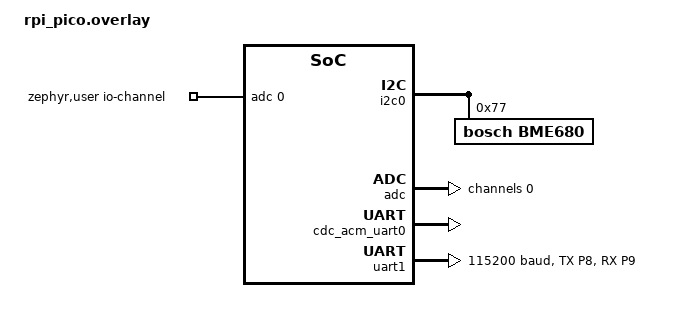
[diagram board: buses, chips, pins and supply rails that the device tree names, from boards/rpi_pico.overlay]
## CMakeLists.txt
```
cmake_minimum_required(VERSION 3.20.0)

# Select our board 
set(BOARD rpi_pico)

# Find/Select cmake package 'Zephyr' 
find_package(Zephyr)

# This is only used by IntelliSense inside VS Code 
set(CMAKE_EXPORT_COMPILE_COMMANDS ON)

# For using west flash with picoprobe
set(OPENOCD "openocd")
set(OPENOCD_DEFAULT_PATH "/usr/local/share/openocd/scripts")

# Define project name
project(lab3_part2)

# Add include directory 
target_include_directories(app PRIVATE src/inc)

# Add source files
FILE(GLOB SRC_FILES "src/*.c")
target_sources(app PRIVATE ${SRC_FILES})
```

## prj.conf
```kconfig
CONFIG_USB_DEVICE_STACK=y
CONFIG_USB_DEVICE_PRODUCT="RPi Pico USB Serial Console"
CONFIG_USB_DEVICE_VID=0001

CONFIG_SERIAL=y
CONFIG_CONSOLE=y
CONFIG_UART_CONSOLE=y
CONFIG_UART_LINE_CTRL=y
CONFIG_UART_ASYNC_API=y

CONFIG_UART_INTERRUPT_DRIVEN=y
CONFIG_UART_1_ASYNC=y
CONFIG_UART_1_INTERRUPT_DRIVEN=y

CONFIG_NEWLIB_LIBC=y
CONFIG_NEWLIB_LIBC_FLOAT_PRINTF=y




CONFIG_GPIO=y
CONFIG_ADC=y
CONFIG_I2C=y
CONFIG_STDOUT_CONSOLE=y

CONFIG_BME680=y

CONFIG_SENSOR=y

CONFIG_DEBUG=y
```

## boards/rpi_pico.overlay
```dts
&i2c0 {
	bme680@77 {
		compatible = "bosch,bme680";
		reg = <0x77>;
	};
};

/ {
    chosen {
        zephyr,console = &cdc_acm_uart0;
    };
};
/ {
	zephyr,user {
		io-channels = <&adc 0>;
	};
};

&adc {
	#address-cells = <1>;
	#size-cells = <0>;

	channel@0 {
		reg = <0>;
		zephyr,gain = "ADC_GAIN_1";
		zephyr,reference = "ADC_REF_INTERNAL";
		zephyr,acquisition-time = <ADC_ACQ_TIME_DEFAULT>;
		zephyr,resolution = <12>;
	};
};

&zephyr_udc0 {
    cdc_acm_uart0: cdc_acm_uart0 {
    	compatible = "zephyr,cdc-acm-uart";
        label = "CDC_ACM_0";
    };
};
&uart1 {
    pinctrl-0 = <&uart1_default>;
	status = "okay";
    pinctrl-names = "default";
	compatible = "raspberrypi,pico-uart";
	current-speed = <115200>;
};


&pinctrl {
	uart1_default: uart1_default {
		group1 {
			pinmux = <UART1_TX_P8>;
		};
		group2 {
			pinmux = <UART1_RX_P9>;
			input-enable;
		};
	};
};
```

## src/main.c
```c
#include <zephyr/kernel.h>
#include <zephyr/device.h>
#include <zephyr/devicetree.h>
#include <zephyr/drivers/gpio.h>
#include <zephyr/drivers/sensor.h>
#include <string.h>
#include <stdio.h>
#include <zephyr/usb/usb_device.h>
#include <zephyr/drivers/uart.h>
#include <zephyr/sys/printk.h>
#include <zephyr/sys/util.h>
#include <zephyr/drivers/i2c.h>
#include <zephyr/sys_clock.h>
#include <zephyr/drivers/adc.h>
#include <inttypes.h>
#include <stddef.h>
#include <stdint.h>

#define UART_DEV_NAME "uart1"
#define UART_BAUD_RATE 115200
#define LED0_NODE DT_ALIAS(led0)
#define SENSOR_ADDRESS 0x53
#define I2C_PORT "i2c@40044000"
uint32_t final_light;
uint32_t UV_final;
int samplerate[] = {25, 125, 500};
int adcrate;

#if !DT_NODE_EXISTS(DT_PATH(zephyr_user)) || \
    !DT_NODE_HAS_PROP(DT_PATH(zephyr_user), io_channels)
#error "No suitable devicetree overlay specified"
#endif

#define DT_SPEC_AND_COMMA(node_id, prop, idx) \
    ADC_DT_SPEC_GET_BY_IDX(node_id, idx),

int err;
uint16_t buf;

struct adc_sequence sequence = {
    .buffer = &buf,
    /* buffer size in bytes, not number of samples */
    .buffer_size = sizeof(buf),
};

/* Data of ADC io-channels specified in devicetree. */
static const struct adc_dt_spec adc_channels[] = {
    DT_FOREACH_PROP_ELEM(DT_PATH(zephyr_user), io_channels,
                         DT_SPEC_AND_COMMA)};

const struct gpio_dt_spec led0 = GPIO_DT_SPEC_GET(LED0_NODE, gpios);
K_SEM_DEFINE(adc_sem, 0, 1);

/* Check overlay exists for CDC UART console */
BUILD_ASSERT(DT_NODE_HAS_COMPAT(DT_CHOSEN(zephyr_console), zephyr_cdc_acm_uart), "Console device is not ACM CDC UART device");
// DT_NODE_HAS_COMPAT(DT_CHOSEN(zephyr_console), zephyr_cdc_acm_uart);
static const struct device *const uart_dev = DEVICE_DT_GET(DT_NODELABEL(uart1));
/*DATA STRUCTS */

/*
Storage for the data to be sent:
String 0: temp
String 1: press
String 2: UV
String 3: Light
String 4: ADC
*/
char chardata[5][20];
// BME DATA
struct sensor_value temp, press, humidity;

/*HELPER FUNCTIONS*/

void int_to_string(int num, char *str)
{
    sprintf(str, "%d", num);
}
void float_to_string(float num, char *str)
{
    sprintf(str, "%.2f", num); // round to 2 decimal places
}

void concatenate_strings(char *str1, char *str2, char *result) // USED FOR BME
{
    strcpy(result, str1);
    strcat(result, ".");
    strcat(result, str2);
}

/*UART FUNCTIONS*/
// DONT CHANGE THIS

int uart_init(void)
{

    if (uart_dev == NULL)
    {
        printk("Device NULL");
        return 0;
    }

    if (!device_is_ready(uart_dev))
    {
        printk("UART device not ready\n");
        return 0;
    }

    return 1;
}
/*

This will send the chardata array

*/

void sender()
{
    int index = 1;
    // while (1)
    // // Increase to send more lines
    // {
    // Increase to send more lines
    int num_of_lines = 5;
    if (!device_is_ready(uart_dev))
    {
        printk("UART device not ready\n");
        return;
    }
    printk("inside sender");
    char ch;
    if (uart_poll_in(uart_dev, &ch) == 0)
    {
        if (ch == '1') // data sender
        {
            for (int i = 0; i < num_of_lines; i++)
            {
                printk("Sending :");
                for (int j = 0; j < 8; j++)
                {
                    if (chardata[i][j] == '␀')
                        break;
                    uart_poll_out(uart_dev, chardata[i][j]);
                    printk(" %c", chardata[i][j]);
                }
                printk("\n");
                uart_poll_out(uart_dev, '\n');
                k_sleep(K_MSEC(100)); // Sending every second (CAN BE CHANGED, CHANGE ALSO RECV DELAY)
            }
        }
        else if (ch == '2')
        {

            adcrate = samplerate[index];
            index = index == 2 ? 0 : index++;
            char buffer[6];
            int_to_string(adcrate, buffer);
            printk("Sending :");
            for (int j = 0; j < 6; j++)
            {
                if (buffer[j] == '␀')
                    break;
                uart_poll_out(uart_dev, buffer[j]);
                printk(" %c", buffer[j]);
            }
            printk("\n");
            uart_poll_out(uart_dev, '\n');
            k_sleep(K_MSEC(100));
        }
        // else
        //     continue;
    }
    // }
}

/* SENSORS FUNCTIONS*/
const struct device *i2c_dev;
struct device *const dev = DEVICE_DT_GET_ONE(bosch_bme680);
void adc_sem_handler()
{
    while (1)
    {
        k_sem_take(&adc_sem, K_FOREVER);
        printk("Inside Semaphore...!!!\n");
        gpio_pin_toggle_dt(&led0);
        k_msleep(1000);
    }
}

void ADCinit_sensor()
{

    /* Configure channels individually prior to sampling. */
    for (size_t i = 0U; i < ARRAY_SIZE(adc_channels); i++)
    {
        if (!adc_is_ready_dt(&adc_channels[i]))
        {
            printk("ADC controller device %s not ready\n", adc_channels[i].dev->name);
        }

        err = adc_channel_setup_dt(&adc_channels[i]);
        if (err < 0)
        {
            printk("Could not setup channel #%d (%d)\n", i, err);
        }
    }
}

void UV_init(void)
{
    i2c_dev = device_get_binding(I2C_PORT);
    // const struct device *const i2c_dev = device_get_binding(I2C_PORT);
    if (i2c_dev == NULL || !device_is_ready(i2c_dev))
    {
        printk("UV NOT READY");
    }
}

void UVsensor_config()
{
    i2c_reg_write_byte(i2c_dev, SENSOR_ADDRESS, 0x00, 0x02);
    k_sleep(K_MSEC(1000));
    uint8_t status, gain, res;
    i2c_reg_read_byte(i2c_dev, SENSOR_ADDRESS, 0x07, &status);
    // printk("The status value is %u\n",status);
    i2c_reg_read_byte(i2c_dev, SENSOR_ADDRESS, 0x05, &gain);
    // printk("The gain value is %u\n",gain);
    i2c_reg_read_byte(i2c_dev, SENSOR_ADDRESS, 0x04, &res);
    // printk("The resoltuion value is %u\n",res);
}
void read_ALS()
{
    i2c_reg_write_byte(i2c_dev, SENSOR_ADDRESS, 0x00, 0x02);
    uint8_t msb, mid, lsb;
    uint32_t als_data;
    char t1[8];
    i2c_reg_read_byte(i2c_dev, SENSOR_ADDRESS, 0x0F, &msb);
    i2c_reg_read_byte(i2c_dev, SENSOR_ADDRESS, 0x0E, &mid);
    i2c_reg_read_byte(i2c_dev, SENSOR_ADDRESS, 0x0D, &lsb);

    als_data = msb << 16 | mid << 8 | lsb;
    double als_data_new = msb * 65536 + mid * 256 + lsb;
    printk("Als new %f\n", als_data_new);
    final_light = (0.6 * als_data_new) / (3 * 1);
    printk("The ALS value is %u\n", final_light);
    int_to_string(final_light, chardata[3]);
    // concatenate_strings(t1, chardata[0]);
}
void read_UV()
{
    i2c_reg_write_byte(i2c_dev, SENSOR_ADDRESS, 0x00, 0x0A);
    char t1[8];
    uint8_t x, y, z;
    uint8_t a, b, c;

    i2c_reg_read_byte(i2c_dev, SENSOR_ADDRESS, 0x12, &x);
    // printk("The resoltuion value is %u\n",x);
    i2c_reg_read_byte(i2c_dev, SENSOR_ADDRESS, 0x11, &y);
    // printk("The resoltuion value is %u\n",y);
    i2c_reg_read_byte(i2c_dev, SENSOR_ADDRESS, 0x10, &z);
    // printk("The resoltuion value is %u\n",z);
    int32_t data;

    data = x << 16 | y << 8 | z;
    data = data / (3 * 1);
    printk("The final UV Index is %u\n", data);
    int_to_string(data, chardata[2]);
}

void bme680_init(void)
{

    // const struct device *const dev = DEVICE_DT_GET_ONE(bosch_bme680);
    if (dev == NULL)
    {

        /* No such node, or the node does not have status "okay". */

        printk("\nError: no device found.\n");

        return NULL;
    }

    if (!device_is_ready(dev))
    {

        printk("\nError: Device \"%s\" is not ready; "

               "check the driver initialization logs for errors.\n",

               dev->name);

        return NULL;
    }
    return dev;
}

void bme680_fetchSample(void)
{
    sensor_sample_fetch(dev);
    printk("258");
}
void bme680_gettemp()
{
    sensor_channel_get(dev, SENSOR_CHAN_AMBIENT_TEMP, &temp);
    char t1[8], t2[8];
    int_to_string(temp.val1, t1);
    int_to_string(temp.val2, t2);
    concatenate_strings(t1, t2, chardata[0]);
    printk("T1: %s \t T2: %s\t Con: %s\n", t1, t2, chardata[0]);
}
void bme680_getpress()
{
    sensor_channel_get(dev, SENSOR_CHAN_PRESS, &press);
    char t1[8], t2[8];
    int_to_string(press.val1, t1);
    int_to_string(press.val2, t2);
    concatenate_strings(t1, t2, chardata[1]);
    printk("T1: %s \t T2: %s\t Con: %s\n", t1, t2, chardata[1]);
}
void moisturefetch_ADC()
{
    adcrate = samplerate[0];
    while (1)
    {
        for (size_t i = 0U; i < ARRAY_SIZE(adc_channels); i++)
        {
            int32_t val_mv;
            (void)adc_sequence_init_dt(&adc_channels[i], &sequence);

            err = adc_read_dt(&adc_channels[i], &sequence);
            if (err < 0)
            {
                printk("Could not read (%d)\n", err);
                continue;
            }

            /*
             * If using differential mode, the 16 bit value
             * in the ADC sample buffer should be a signed 2's
             * complement value.
             */
            if (adc_channels[i].channel_cfg.differential)
            {
                val_mv = (int32_t)((int16_t)buf);
            }
            else
            {
                val_mv = (int32_t)buf;
            }
            // printk("%"PRId32, val_mv);
            err = adc_raw_to_millivolts_dt(&adc_channels[i],
                                           &val_mv);
            /* conversion to mV may not be supported, skip if not */
            if (err < 0)
            {
                printk(" (value in mV not available)\n");
            }

            else
            {
                printk(" SOil Moisture Value: %" PRId32 " mV\n", val_mv);
            }

            int_to_string(val_mv, chardata[4]);

            if (val_mv > 2600)
            {
                printk("Dry soil!!!!\n");
                k_sem_give(&adc_sem);
                continue;
            }

            else

                gpio_pin_set_dt(&led0, 0);
        }
        k_sleep(K_MSEC(adcrate));
    }
}
int main(void)
{
    gpio_pin_configure_dt(&led0, GPIO_OUTPUT_ACTIVE);
    /* Configure to set Console output to USB Serial */
    const struct device *usb_device = DEVICE_DT_GET(DT_CHOSEN(zephyr_console));
    uint32_t dtr = 0;

    /* Check if USB can be initialised, bails out if fail is returned */
    if (usb_enable(NULL) != 0)
    {
        return;
    }

    /* Wait for a console connection, if the DTR flag was set to activate USB.
     * If you wish to start generating serial data immediately, you can simply
     * remove the while loop, to not wait until the control line is set.
     */
    while (!dtr)
    {
        uart_line_ctrl_get(usb_device, UART_LINE_CTRL_DTR, &dtr);
        k_sleep(K_MSEC(100));
    }

    if (!device_is_ready(uart_dev))
    {
        printk("UART device not ready\n");
        return;
    }
    // printk("TEST111");
    /*SENSOR INIT*/

    bme680_init();
    // printk("TEST222");
    UV_init();
    // printk("TEST333");
    ADCinit_sensor();
    // printk("TEST444");
    while (1)
    {
        bme680_fetchSample();
        // printk("bme sample");
        bme680_gettemp();
        // printk("temp");
        bme680_getpress();
        // printk("press");
        UVsensor_config();
        // printk("UV config");
        read_ALS();
        // printk("ALS");
        read_UV();
        // moisturefetch_ADC();
        //  printk(" UV");
        //  moisturefetch_ADC();
        //  printk("ADC");
        sender();
        k_sleep(K_MSEC(500));
    }
}

K_THREAD_DEFINE(adc_interrupt, 5000, adc_sem_handler, NULL, NULL, NULL, 5, 0, 0);
// K_THREAD_DEFINE(senderrecv, 500, sender, NULL, NULL, NULL, 5, 0, 0);
K_THREAD_DEFINE(adc_sampler, 5000, moisturefetch_ADC, NULL, NULL, NULL, 5, 0, 0);
```
